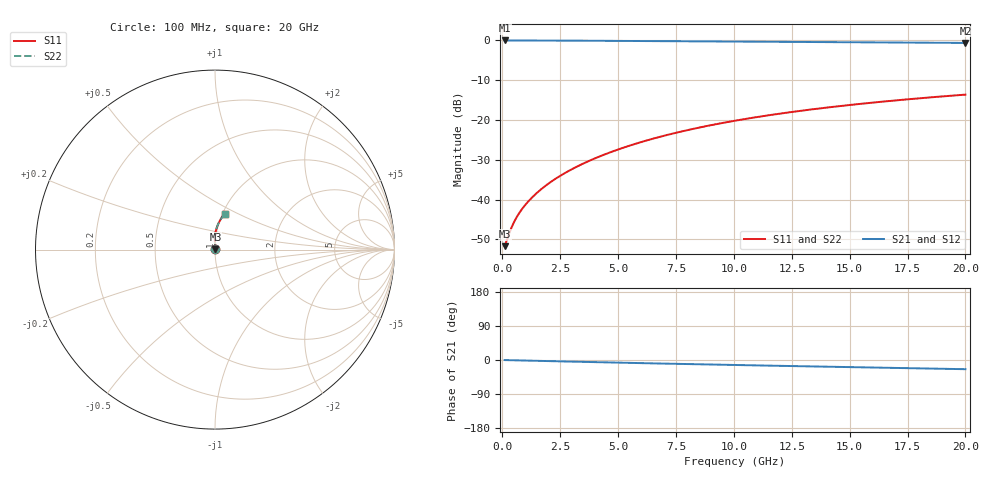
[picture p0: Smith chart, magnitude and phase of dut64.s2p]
! Touchstone file exported from HFSS 2024.1.0
!  File:  C:/UserFiles/LocalFiles/RDL_TSV_Batchsim/temp_RDL_bottom_64_1778693521.aedt
!  Generated:  01:34:52 AM May 14, 2026
!  Design:  RDL_bottom
!  Project:  temp_RDL_bottom_64_1778693521
!  Setup:  Setup1
!  Solution:  Sweep
! Variables:
!  dtsv = 10.80580581um
!  hbump = 3um
!  htsv = 61.07um
!  ldown = 351.51um
!  lrdl = 100um
!  p = 40
!  p1 = 45.13um
!  rhole = 1um
!  t = 450um
!  tdown = 2.25um
!  trdl = 3.915915916um
!  wdown = 27.31um
!  wrdl = 20um
# GHz S MA R 50.000000
! Terminal data exported
! Port[1] = RDL1_T1
! Port[2] = RDL1_T2
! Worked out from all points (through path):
!   200 points, 100 MHz to 20 GHz, reference 50 ohm
!   highest |S21| = -0.02 dB at 100 MHz (marker M1); lowest = -0.6 dB at 20 GHz (marker M2)
!   group delay of S21, straight-line fit = 3.32 ps
!   lowest |S11| = -51.7 dB at 100 MHz (marker M3), VSWR 1.01, Z = 50.2 + j0.0945 ohm
!   |S11| at or under -10 dB: start of sweep to end of sweep
!   |S22| runs from -51.7 to -13.6 dB; largest |S21 - S12| = 3.5e-15
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0.1  0.002602 21.2  0.9976 -0.2  0.9976 -0.2  0.002602 21.2
! Gamma 0 0 0 0
! Port Impedance 50 0 50 0
0.3  0.003768 46.4  0.9973 -0.5  0.9973 -0.5  0.003768 46.4
0.4  0.004469 52.7  0.9971 -0.6  0.9971 -0.6  0.004469 52.7
0.5  0.005174 57.2  0.997 -0.8  0.997 -0.8  0.005174 57.2
0.6  0.005872 60.7  0.9968 -0.9  0.9968 -0.9  0.005872 60.7
0.7  0.006564 63.5  0.9967 -1.0  0.9967 -1.0  0.006564 63.5
0.9  0.007941 67.9  0.9964 -1.3  0.9964 -1.3  0.00794 67.9
1.2  0.01003 72.9  0.9959 -1.8  0.9959 -1.8  0.01003 72.9
1.7  0.01366 78.7  0.9951 -2.5  0.9951 -2.5  0.01366 78.7
2.2  0.01749 82.6  0.994 -3.2  0.994 -3.2  0.01749 82.6
2.8  0.02236 85.8  0.9925 -4.0  0.9925 -4.0  0.02236 85.8
3.5  0.02841 88.3  0.9905 -5.0  0.9905 -5.0  0.02841 88.3
4.2  0.03483 89.8  0.9882 -5.9  0.9882 -5.9  0.03483 89.8
5  0.0426 90.8  0.9853 -7.0  0.9853 -7.0  0.0426 90.8
5.9  0.0518 91.2  0.9819 -8.1  0.9819 -8.1  0.0518 91.2
6.8  0.0614 91.1  0.9783 -9.3  0.9783 -9.3  0.06141 91.1
8.4  0.07915 90.0  0.9719 -11.2  0.9719 -11.2  0.07916 90.0
10.1  0.09852 88.2  0.9652 -13.2  0.9652 -13.2  0.09853 88.2
11.7  0.1169 86.1  0.9591 -15.1  0.9591 -15.1  0.1169 86.1
13.4  0.1363 83.8  0.9527 -17.0  0.9527 -17.0  0.1363 83.8
16.7  0.1731 79.2  0.9408 -20.7  0.9408 -20.7  0.1731 79.2
20  0.2083 74.7  0.929 -24.3  0.929 -24.3  0.2083 74.8
